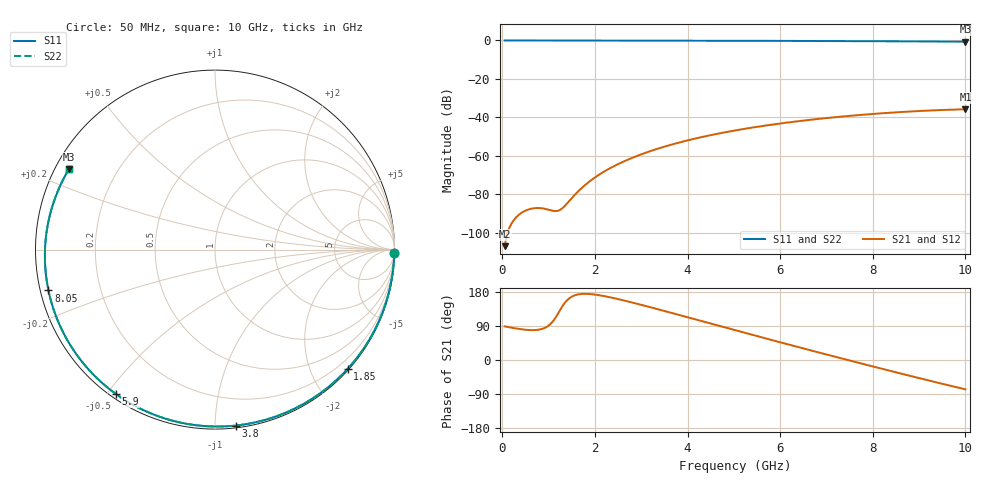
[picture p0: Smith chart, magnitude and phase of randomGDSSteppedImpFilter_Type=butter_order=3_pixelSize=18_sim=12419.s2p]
! freq	dB(S11)	phase(S11)	dB(S12)	phase(S12)
!  dB(S21)	phase(S21)	dB(S22)	phase(S22)
!S-par simulation data
#  GHz  S  DB  R 50
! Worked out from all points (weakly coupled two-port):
!   200 points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, 50 MHz to 10 GHz, reference 50 ohm
!   highest |S21| = -35.79 dB at 10 GHz (marker M1); lowest = -107.0 dB at 50 MHz (marker M2)
!   lowest |S11| = -0.6 dB at 10 GHz (marker M3), VSWR 27.30, Z = 1.95 + j12.8 ohm
!   |S11| at or under -10 dB: nowhere
!   |S22| runs from -0.6 to 0.0 dB; largest |S21 - S12| = 0
!   S11 on the Smith chart (normalised r, x): 50 MHz: open; 1.85 GHz: 0.02, -2.61; 3.8 GHz: 0.01, -1.12; 5.9 GHz: 0.02, -0.53; 8.05 GHz: 0.02, -0.12; 10 GHz: 0.04, +0.26
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0.05  -0.00 -1.1  -107.04 88.8  -107.04 88.8  -0.00 -1.1
0.8  -0.02 -18.4  -87.21 80.3  -87.21 80.3  -0.02 -18.4
1.55  -0.04 -35.3  -80.72 170.0  -80.72 170.0  -0.04 -35.3
1.6  -0.05 -36.4  -79.45 172.0  -79.45 172.0  -0.05 -36.4
1.75  -0.05 -39.8  -76.01 174.5  -76.01 174.5  -0.05 -39.8
1.85  -0.05 -42.0  -73.99 174.4  -73.99 174.4  -0.05 -42.0
2.15  -0.06 -48.6  -68.94 169.7  -68.94 169.7  -0.06 -48.6
2.5  -0.07 -56.1  -64.35 160.8  -64.35 160.8  -0.07 -56.1
2.9  -0.08 -64.6  -60.17 148.7  -60.17 148.7  -0.08 -64.7
3.4  -0.10 -75.1  -56.00 132.7  -56.00 132.7  -0.10 -75.1
3.8  -0.11 -83.3  -53.23 119.5  -53.23 119.5  -0.11 -83.3
4.4  -0.14 -95.3  -49.78 99.5  -49.78 99.5  -0.14 -95.3
5.05  -0.17 -108.1  -46.73 77.9  -46.73 77.9  -0.17 -108.1
5.9  -0.21 -124.5  -43.54 50.0  -43.54 50.0  -0.21 -124.5
6.7  -0.27 -139.8  -41.15 24.1  -41.15 24.1  -0.27 -139.8
7.4  -0.33 -153.3  -39.45 1.9  -39.45 1.9  -0.33 -153.3
8.05  -0.40 -166.2  -38.15 -18.5  -38.15 -18.5  -0.40 -166.2
8.35  -0.43 -172.3  -37.64 -27.9  -37.64 -27.9  -0.43 -172.4
8.8  -0.48 178.2  -36.97 -41.7  -36.97 -41.7  -0.48 178.2
9.2  -0.53 169.6  -36.48 -53.8  -36.48 -53.8  -0.53 169.5
9.6  -0.58 160.5  -36.09 -65.8  -36.09 -65.8  -0.58 160.5
10  -0.64 151.1  -35.79 -77.4  -35.79 -77.4  -0.64 151.1
